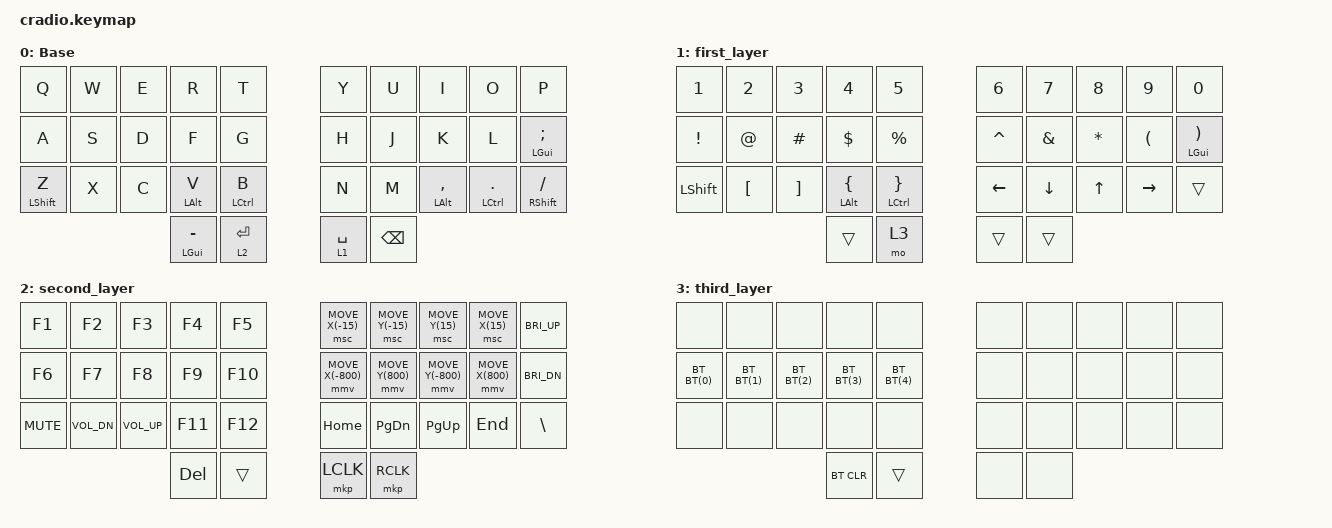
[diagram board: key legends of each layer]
// Copyright (c) 2022 The ZMK Contributors
// SPDX-License-Identifier: MIT

#include <behaviors.dtsi>
#include <dt-bindings/zmk/keys.h>
#include <dt-bindings/zmk/bt.h>
#include <dt-bindings/zmk/mouse.h>

&mt {
    flavor = "balanced";
    quick-tap-ms = <200>;
};

&lt {
    quick-tap-ms = <200>;
    tapping-term-ms = <250>;
};

#define BT(n) BT_SEL n

/ {
    behaviors {
        ht: hold_tap {
            compatible = "zmk,behavior-hold-tap";
            #binding-cells = <2>;
            flavor = "hold-preferred";
            tapping-term-ms = <200>;
            quick-tap-ms = <200>;
            bindings = <&kp>, <&kp>;
        };
    };

    combos {
        compatible = "zmk,combos";
        combo_grave {
            timeout-ms = <50>;
            key-positions = <0 1>;
            bindings = <&kp GRAVE>;
        };
        combo_esc {
            timeout-ms = <50>;
            key-positions = <1 2>;
            bindings = <&kp ESC>;
        };
        combo_tab {
            timeout-ms = <50>;
            key-positions = <11 12>;
            bindings = <&kp TAB>;
        };
        combo_equal {
            timeout-ms = <50>;
            key-positions = <12 13>;
            bindings = <&kp EQUAL>;
        };
        combo_plus {
            timeout-ms = <50>;
            key-positions = <13 14>;
            bindings = <&kp PLUS>;
        };
        combo_dqt {
            timeout-ms = <50>;
            key-positions = <15 16>;
            bindings = <&kp DQT>;
        };
        combo_sqt {
            timeout-ms = <50>;
            key-positions = <16 17>;
            bindings = <&kp SQT>;
        };
    };

    keymap {
        compatible = "zmk,keymap";

        base_layer {
            label = "Base";
            bindings = <
    &kp Q        &kp W &kp E &kp R          &kp T       &kp Y       &kp U    &kp I          &kp O         &kp P
    &kp A        &kp S &kp D &kp F          &kp G       &kp H       &kp J    &kp K          &kp L         &mt LGUI SEMI
    &ht LSHIFT Z &kp X &kp C &mt LALT V     &mt LCTRL B &kp N       &kp M    &mt LALT COMMA &mt LCTRL DOT &ht RSHIFT SLASH
                             &mt LGUI MINUS &lt 2 ENTER &lt 1 SPACE &kp BSPC
            >;
        };

        first_layer {
            bindings = <
    &kp N1     &kp N2   &kp N3   &kp N4        &kp N5         &kp N6    &kp N7   &kp N8    &kp N9    &kp N0
    &kp EXCL   &kp AT   &kp HASH &kp DLLR      &kp PRCNT      &kp CARET &kp AMPS &kp ASTRK &kp LPAR  &mt LGUI RPAR
    &kp LSHIFT &kp LBKT &kp RBKT &mt LALT LBRC &mt LCTRL RBRC &kp LEFT  &kp DOWN &kp UP    &kp RIGHT &trans
                                 &trans        &mo 3          &trans    &trans
            >;
        };

        second_layer {
            bindings = <
    &kp F1     &kp F2       &kp F3       &kp F4  &kp F5  &msc MOVE_X(-15)  &msc MOVE_Y(-15) &msc MOVE_Y(15)   &msc MOVE_X(15)  &kp C_BRI_UP
    &kp F6     &kp F7       &kp F8       &kp F9  &kp F10 &mmv MOVE_X(-800) &mmv MOVE_Y(800) &mmv MOVE_Y(-800) &mmv MOVE_X(800) &kp C_BRI_DN
    &kp C_MUTE &kp C_VOL_DN &kp C_VOL_UP &kp F11 &kp F12 &kp HOME          &kp PG_DN        &kp PG_UP         &kp END          &kp BSLH
                                         &kp DEL &trans  &mkp LCLK &mkp RCLK
            >;
        };

        third_layer {
            bindings = <
    &none     &none     &none     &none      &none     &none &none &none &none &none
    &bt BT(0) &bt BT(1) &bt BT(2) &bt BT(3)  &bt BT(4) &none &none &none &none &none
    &none     &none     &none     &none      &none     &none &none &none &none &none
                                  &bt BT_CLR &trans    &none &none
            >;
        };

    };
};
